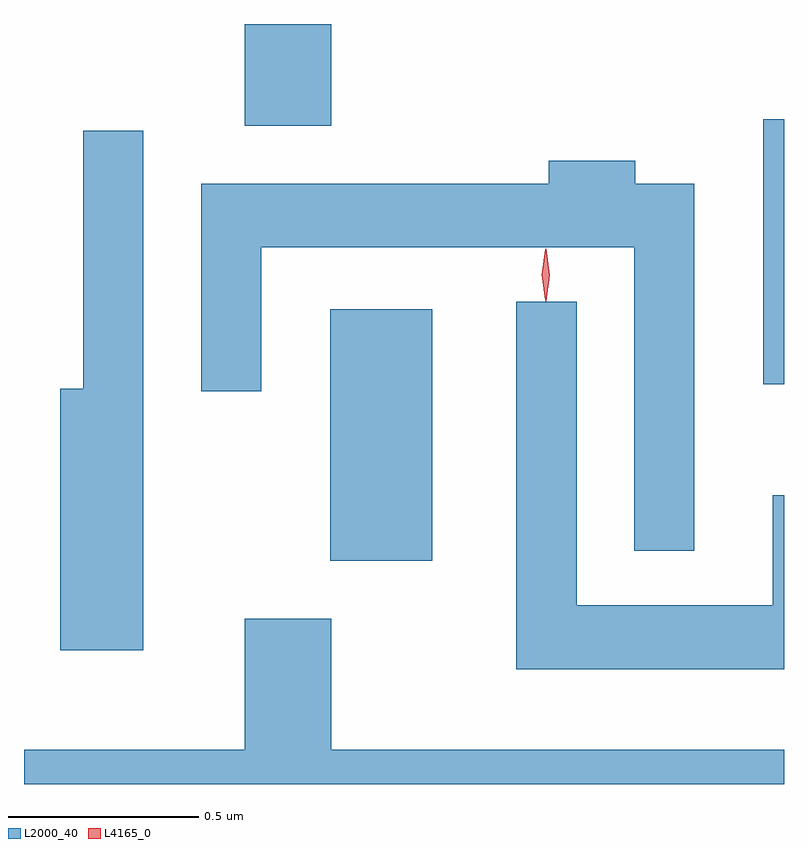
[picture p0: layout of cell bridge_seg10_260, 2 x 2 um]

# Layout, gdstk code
import gdstk
lib = gdstk.Library(unit=1e-6, precision=1e-09)
def R(c, l, rs):  # rectangles x0, y0, x1, y1
    for r in rs: c.add(gdstk.rectangle(r[:2], r[2:], *l))
def P(c, l, *ps):  # polygons
    for p in ps: c.add(gdstk.Polygon(p, *l))
L2000_40 = (2000, 40)
L4165_0 = (4165, 0)

bridge_seg10_260 = lib.new_cell('bridge_seg10_260')
R(bridge_seg10_260, L2000_40, [(1790.726,2096.921,1790.994,2097.584), (1791.866,2097.386,1791.92,2098.084), (1790.501,2098.066,1790.729,2098.334)])
P(bridge_seg10_260, L2000_40, [(1790.234,2098.053),(1790.076,2098.053),(1790.076,2097.374),(1790.016,2097.374),(1790.016,2096.686),(1790.234,2096.686)],
  [(1791.684,2097.914),(1791.529,2097.914),(1791.529,2097.974),(1791.301,2097.974),(1791.301,2097.914),(1790.386,2097.914),(1790.386,2097.368),(1790.544,2097.368),(1790.544,2097.746),(1791.526,2097.746),(1791.526,2096.948),(1791.684,2096.948)],
  [(1791.92,2097.094),(1791.891,2097.094),(1791.891,2096.804),(1791.374,2096.804),(1791.374,2097.603),(1791.216,2097.603),(1791.216,2096.636),(1791.92,2096.636)],
  [(1791.92,2096.424),(1790.729,2096.424),(1790.729,2096.769),(1790.501,2096.769),(1790.501,2096.424),(1789.92,2096.424),(1789.92,2096.334),(1791.92,2096.334)])
P(bridge_seg10_260, L4165_0, [(1791.293,2097.607),(1791.292,2097.608),(1791.283,2097.674),(1791.292,2097.74),(1791.292,2097.74),(1791.293,2097.74),(1791.302,2097.674),(1791.293,2097.608)],
  [(1791.293,2097.604),(1791.284,2097.673),(1791.293,2097.742),(1791.294,2097.743),(1791.294,2097.742),(1791.304,2097.673),(1791.294,2097.604),(1791.294,2097.604)])

lib.write_gds('bridge_seg10_260.gds')
